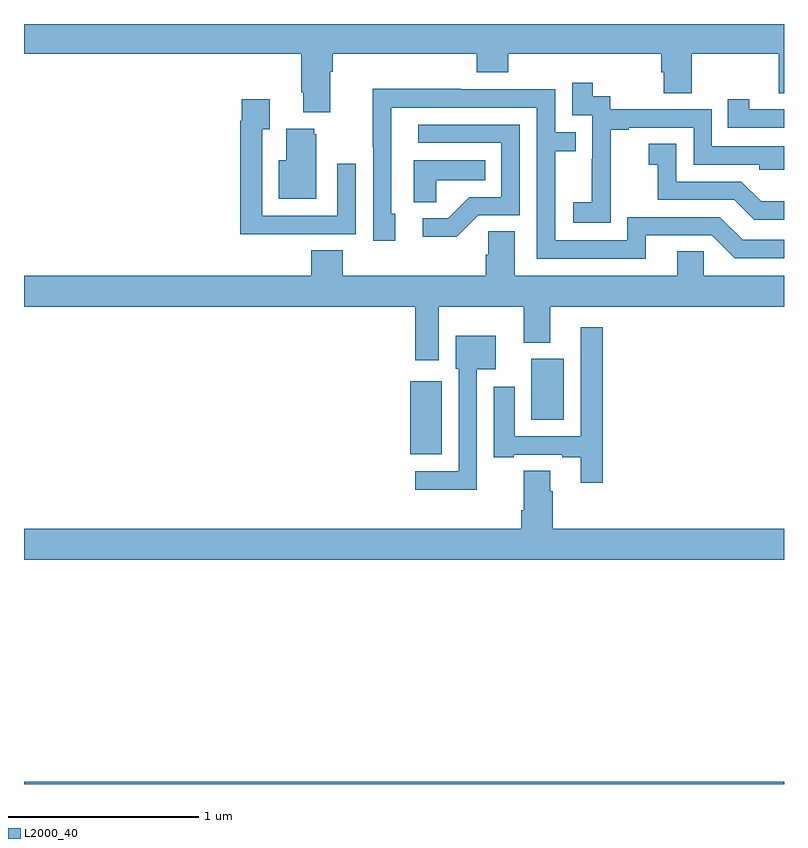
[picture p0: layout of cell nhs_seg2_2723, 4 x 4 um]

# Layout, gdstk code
import gdstk
lib = gdstk.Library(unit=1e-6, precision=1e-09)
def R(c, l, rs):  # rectangles x0, y0, x1, y1
    for r in rs: c.add(gdstk.rectangle(r[:2], r[2:], *l))
def P(c, l, *ps):  # polygons
    for p in ps: c.add(gdstk.Polygon(p, *l))
L2000_40 = (2000, 40)

nhs_seg2_2723 = lib.new_cell('nhs_seg2_2723')
R(nhs_seg2_2723, L2000_40, [(253,635.8,257,635.812), (255.032,637.535,255.199,637.921), (255.671,637.718,255.841,638.038)])
P(nhs_seg2_2723, L2000_40, [(254.611,639.548),(254.624,639.548),(254.624,639.644),(255.383,639.644),(255.383,639.545),(255.548,639.545),(255.548,639.644),(256.355,639.644),(256.355,639.546),(256.367,639.546),(256.367,639.436),(256.515,639.436),(256.515,639.644),(256.972,639.644),(256.972,639.436),(257,639.436),(257,639.8),(253,639.8),(253,639.644),(254.459,639.644),(254.459,639.442),(254.471,639.442),(254.471,639.335),(254.611,639.335)],
  [(256.089,638.959),(256.088,638.959),(256.088,639.243),(256.183,639.243),(256.183,639.255),(256.524,639.255),(256.524,639.06),(256.869,639.06),(256.869,639.033),(257,639.033),(257,639.156),(256.62,639.156),(256.62,639.351),(256.086,639.351),(256.086,639.42),(255.994,639.42),(255.994,639.49),(255.885,639.49),(255.885,639.321),(255.99,639.321),(255.99,639.092),(255.989,639.092),(255.989,638.863),(255.891,638.863),(255.891,638.753),(256.089,638.753)],
  [(256.273,638.688),(256.62,638.688),(256.74,638.568),(257,638.568),(257,638.664),(256.782,638.664),(256.662,638.784),(256.176,638.784),(256.176,638.661),(255.795,638.661),(255.795,639.13),(255.905,639.13),(255.905,639.231),(255.795,639.231),(255.795,639.456),(255.299,639.456),(255.299,639.458),(254.836,639.458),(254.836,639.151),(254.838,639.151),(254.838,638.658),(254.953,638.658),(254.953,638.802),(254.934,638.802),(254.934,639.36),(255.699,639.36),(255.699,638.565),(256.273,638.565)],
  [(254.429,638.694),(254.745,638.694),(254.745,639.064),(254.649,639.064),(254.649,638.79),(254.253,638.79),(254.253,639.247),(254.293,639.247),(254.293,639.403),(254.145,639.403),(254.145,639.29),(254.137,639.29),(254.137,638.693),(254.429,638.693)],
  [(257,639.351),(256.816,639.351),(256.816,639.403),(256.705,639.403),(256.705,639.255),(257,639.255)],
  [(255.39,638.793),(255.609,638.793),(255.609,639.27),(255.075,639.27),(255.075,639.174),(255.513,639.174),(255.513,638.889),(255.344,638.889),(255.233,638.778),(255.099,638.778),(255.099,638.681),(255.277,638.681)],
  [(254.539,639.219),(254.528,639.219),(254.528,639.25),(254.381,639.25),(254.381,639.082),(254.342,639.082),(254.342,638.879),(254.539,638.879)],
  [(257,638.866),(256.88,638.866),(256.776,638.97),(256.434,638.97),(256.434,639.169),(256.287,639.169),(256.287,639.059),(256.336,639.059),(256.336,638.874),(256.739,638.874),(256.844,638.769),(257,638.769)],
  [(255.171,638.978),(255.428,638.978),(255.428,639.082),(255.05,639.082),(255.05,638.863),(255.171,638.863)],
  [(255.184,638.312),(255.629,638.312),(255.629,638.123),(255.769,638.123),(255.769,638.312),(257,638.312),(257,638.476),(256.578,638.476),(256.578,638.603),(256.439,638.603),(256.439,638.476),(255.583,638.476),(255.583,638.708),(255.444,638.708),(255.444,638.585),(255.431,638.585),(255.431,638.476),(254.678,638.476),(254.678,638.609),(254.513,638.609),(254.513,638.476),(253,638.476),(253,638.312),(255.059,638.312),(255.059,638.031),(255.184,638.031)],
  [(256.046,638.203),(255.93,638.203),(255.93,637.629),(255.583,637.629),(255.583,637.891),(255.473,637.891),(255.473,637.521),(255.577,637.521),(255.577,637.533),(255.833,637.533),(255.833,637.521),(255.929,637.521),(255.929,637.386),(256.046,637.386)],
  [(255.384,637.982),(255.484,637.982),(255.484,638.158),(255.272,638.158),(255.272,637.986),(255.288,637.986),(255.288,637.446),(255.06,637.446),(255.06,637.349),(255.384,637.349)],
  [(257,637.144),(255.782,637.144),(255.782,637.34),(255.769,637.34),(255.769,637.448),(255.629,637.448),(255.629,637.24),(255.617,637.24),(255.617,637.144),(253,637.144),(253,636.98),(257,636.98)])

lib.write_gds('nhs_seg2_2723.gds')
